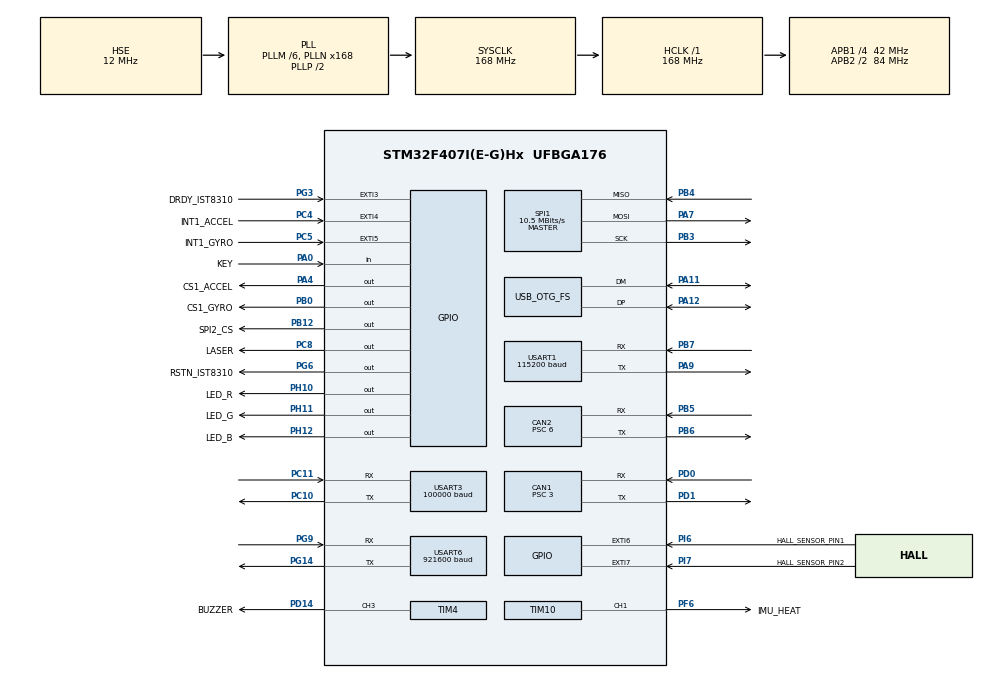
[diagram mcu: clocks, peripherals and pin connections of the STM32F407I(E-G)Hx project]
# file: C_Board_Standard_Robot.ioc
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CAN1.BS1=CAN_BS1_10TQ
CAN1.BS2=CAN_BS2_3TQ
CAN1.CalculateBaudRate=1000000
CAN1.CalculateTimeBit=1000
CAN1.CalculateTimeQuantum=71.42857142857143
CAN1.Prescaler=3
CAN2.ABOM=ENABLE
CAN2.BS1=CAN_BS1_3TQ
CAN2.BS2=CAN_BS2_3TQ
CAN2.CalculateBaudRate=1000000
CAN2.CalculateTimeBit=1000
CAN2.CalculateTimeQuantum=142.85714285714286
CAN2.NART=ENABLE
CAN2.Prescaler=6
Dma.Request0=SPI1_RX
Dma.Request1=SPI1_TX
Dma.Request2=USART3_RX
Dma.Request3=USART1_TX
Dma.Request4=USART1_RX
Dma.Request5=USART6_RX
Dma.SPI1_RX.0.Direction=DMA_PERIPH_TO_MEMORY
Dma.SPI1_RX.0.FIFOMode=DMA_FIFOMODE_DISABLE
Dma.SPI1_RX.0.Instance=DMA2_Stream2
Dma.SPI1_RX.0.MemDataAlignment=DMA_MDATAALIGN_BYTE
Dma.SPI1_RX.0.MemInc=DMA_MINC_ENABLE
Dma.SPI1_RX.0.Mode=DMA_NORMAL
Dma.SPI1_RX.0.PeriphDataAlignment=DMA_PDATAALIGN_BYTE
Dma.SPI1_RX.0.PeriphInc=DMA_PINC_DISABLE
Dma.SPI1_RX.0.Priority=DMA_PRIORITY_VERY_HIGH
Dma.SPI1_TX.1.Direction=DMA_MEMORY_TO_PERIPH
Dma.SPI1_TX.1.FIFOMode=DMA_FIFOMODE_DISABLE
Dma.SPI1_TX.1.Instance=DMA2_Stream3
Dma.SPI1_TX.1.MemDataAlignment=DMA_MDATAALIGN_BYTE
Dma.SPI1_TX.1.MemInc=DMA_MINC_ENABLE
Dma.SPI1_TX.1.Mode=DMA_NORMAL
Dma.SPI1_TX.1.PeriphDataAlignment=DMA_PDATAALIGN_BYTE
Dma.SPI1_TX.1.PeriphInc=DMA_PINC_DISABLE
Dma.SPI1_TX.1.Priority=DMA_PRIORITY_HIGH
Dma.USART1_RX.4.Direction=DMA_PERIPH_TO_MEMORY
Dma.USART1_RX.4.FIFOMode=DMA_FIFOMODE_DISABLE
Dma.USART1_RX.4.Instance=DMA2_Stream5
Dma.USART1_RX.4.MemDataAlignment=DMA_MDATAALIGN_BYTE
Dma.USART1_RX.4.MemInc=DMA_MINC_ENABLE
Dma.USART1_RX.4.Mode=DMA_NORMAL
Dma.USART1_RX.4.PeriphDataAlignment=DMA_PDATAALIGN_BYTE
Dma.USART1_RX.4.PeriphInc=DMA_PINC_DISABLE
Dma.USART1_RX.4.Priority=DMA_PRIORITY_VERY_HIGH
Dma.USART1_TX.3.Direction=DMA_MEMORY_TO_PERIPH
Dma.USART1_TX.3.FIFOMode=DMA_FIFOMODE_DISABLE
Dma.USART1_TX.3.Instance=DMA2_Stream7
Dma.USART1_TX.3.MemDataAlignment=DMA_MDATAALIGN_BYTE
Dma.USART1_TX.3.MemInc=DMA_MINC_ENABLE
Dma.USART1_TX.3.Mode=DMA_NORMAL
Dma.USART1_TX.3.PeriphDataAlignment=DMA_PDATAALIGN_BYTE
Dma.USART1_TX.3.PeriphInc=DMA_PINC_DISABLE
Dma.USART1_TX.3.Priority=DMA_PRIORITY_VERY_HIGH
Dma.USART3_RX.2.Direction=DMA_PERIPH_TO_MEMORY
Dma.USART3_RX.2.FIFOMode=DMA_FIFOMODE_DISABLE
Dma.USART3_RX.2.Instance=DMA1_Stream1
Dma.USART3_RX.2.MemDataAlignment=DMA_MDATAALIGN_BYTE
Dma.USART3_RX.2.MemInc=DMA_MINC_ENABLE
Dma.USART3_RX.2.Mode=DMA_NORMAL
Dma.USART3_RX.2.PeriphDataAlignment=DMA_PDATAALIGN_BYTE
Dma.USART3_RX.2.PeriphInc=DMA_PINC_DISABLE
Dma.USART3_RX.2.Priority=DMA_PRIORITY_LOW
Dma.USART6_RX.5.Direction=DMA_PERIPH_TO_MEMORY
Dma.USART6_RX.5.FIFOMode=DMA_FIFOMODE_DISABLE
Dma.USART6_RX.5.Instance=DMA2_Stream1
Dma.USART6_RX.5.MemDataAlignment=DMA_MDATAALIGN_BYTE
Dma.USART6_RX.5.MemInc=DMA_MINC_ENABLE
Dma.USART6_RX.5.Mode=DMA_NORMAL
Dma.USART6_RX.5.PeriphDataAlignment=DMA_PDATAALIGN_BYTE
Dma.USART6_RX.5.PeriphInc=DMA_PINC_DISABLE
Dma.USART6_RX.5.Priority=DMA_PRIORITY_LOW
FREERTOS.INCLUDE_eTaskGetState=1
FREERTOS.INCLUDE_pcTaskGetTaskName=1
FREERTOS.INCLUDE_uxTaskGetStackHighWaterMark=1
FREERTOS.INCLUDE_vTaskCleanUpResources=1
FREERTOS.INCLUDE_vTaskDelayUntil=1
FREERTOS.INCLUDE_xEventGroupSetBitFromISR=1
FREERTOS.INCLUDE_xQueueGetMutexHolder=1
FREERTOS.INCLUDE_xSemaphoreGetMutexHolder=1
FREERTOS.INCLUDE_xTaskAbortDelay=1
FREERTOS.INCLUDE_xTaskGetCurrentTaskHandle=1
FREERTOS.INCLUDE_xTaskGetHandle=1
FREERTOS.INCLUDE_xTimerPendFunctionCall=1
FREERTOS.Tasks01=INSTask,24,1024,StartINSTask,Default,NULL,Dynamic,NULL,NULL;Init_Task,8,2048,StartInit_Task,Default,NULL,Dynamic,NULL,NULL
FREERTOS.configTOTAL_HEAP_SIZE=24576
Mcu.Family=STM32F4
Mcu.Name=STM32F407I(E-G)Hx
Mcu.Package=UFBGA176
NVIC.CAN1_RX0_IRQn=true\:5\:0\:false\:false\:true\:true\:true\:true\:true
NVIC.CAN2_RX1_IRQn=true\:5\:0\:false\:false\:true\:true\:true\:true\:true
NVIC.DMA1_Stream1_IRQn=true\:5\:0\:false\:false\:true\:true\:false\:true\:true
NVIC.DMA2_Stream1_IRQn=true\:5\:0\:false\:false\:true\:true\:false\:true\:true
NVIC.DMA2_Stream2_IRQn=true\:5\:0\:true\:false\:false\:false\:false\:true\:true
NVIC.DMA2_Stream3_IRQn=true\:5\:0\:true\:false\:false\:false\:false\:true\:true
NVIC.DMA2_Stream5_IRQn=true\:5\:0\:false\:false\:true\:true\:false\:true\:true
NVIC.DMA2_Stream7_IRQn=true\:5\:0\:false\:false\:true\:true\:false\:true\:true
NVIC.EXTI3_IRQn=true\:5\:0\:true\:false\:true\:false\:true\:true\:true
NVIC.EXTI4_IRQn=true\:5\:0\:true\:false\:true\:false\:true\:true\:true
NVIC.EXTI9_5_IRQn=true\:5\:0\:true\:false\:true\:false\:true\:true\:true
NVIC.HASH_RNG_IRQn=true\:5\:0\:false\:false\:true\:true\:true\:true\:true
NVIC.OTG_FS_IRQn=true\:5\:0\:false\:false\:true\:true\:true\:true\:true
NVIC.PriorityGroup=NVIC_PRIORITYGROUP_4
NVIC.TIM2_IRQn=true\:0\:0\:false\:false\:true\:false\:false\:true\:true
NVIC.TIM3_IRQn=true\:5\:0\:false\:false\:true\:true\:true\:true\:true
NVIC.TimeBase=TIM2_IRQn
NVIC.TimeBaseIP=TIM2
NVIC.USART1_IRQn=true\:5\:0\:false\:false\:true\:true\:true\:true\:true
NVIC.USART3_IRQn=true\:5\:0\:false\:false\:true\:true\:true\:true\:true
NVIC.USART6_IRQn=true\:5\:0\:false\:false\:true\:true\:true\:true\:true
PA0-WKUP.GPIO_Label=KEY
PA0-WKUP.GPIO_PuPd=GPIO_PULLUP
PA0-WKUP.Signal=GPIO_Input
PA11.Mode=Device_Only
PA11.Signal=USB_OTG_FS_DM
PA12.Mode=Device_Only
PA12.Signal=USB_OTG_FS_DP
PA13.Mode=Serial_Wire
PA13.Signal=SYS_JTMS-SWDIO
PA14.Mode=Serial_Wire
PA14.Signal=SYS_JTCK-SWCLK
PA4.GPIO_Label=CS1_ACCEL
PA4.GPIO_PuPd=GPIO_PULLUP
PA4.GPIO_Speed=GPIO_SPEED_FREQ_HIGH
PA4.PinState=GPIO_PIN_SET
PA4.Signal=GPIO_Output
PA7.GPIO_PuPd=GPIO_PULLUP
PA7.Mode=Full_Duplex_Master
PA7.Signal=SPI1_MOSI
PA9.Mode=Asynchronous
PA9.Signal=USART1_TX
PB0.GPIO_Label=CS1_GYRO
PB0.GPIO_PuPd=GPIO_PULLUP
PB0.GPIO_Speed=GPIO_SPEED_FREQ_HIGH
PB0.PinState=GPIO_PIN_SET
PB0.Signal=GPIO_Output
PB12.GPIO_Label=SPI2_CS
PB12.GPIO_PuPd=GPIO_PULLUP
PB12.GPIO_Speed=GPIO_SPEED_FREQ_MEDIUM
PB12.PinState=GPIO_PIN_SET
PB12.Signal=GPIO_Output
PB3.GPIO_PuPd=GPIO_PULLUP
PB3.Mode=Full_Duplex_Master
PB3.Signal=SPI1_SCK
PB4.GPIO_PuPd=GPIO_PULLUP
PB4.Mode=Full_Duplex_Master
PB4.Signal=SPI1_MISO
PB5.Mode=CAN_Activate
PB5.Signal=CAN2_RX
PB6.Mode=CAN_Activate
PB6.Signal=CAN2_TX
PB7.Mode=Asynchronous
PB7.Signal=USART1_RX
PC10.Mode=Asynchronous
PC10.Signal=USART3_TX
PC11.Mode=Asynchronous
PC11.Signal=USART3_RX
PC4.GPIO_Label=INT1_ACCEL
PC4.GPIO_ModeDefaultEXTI=GPIO_MODE_IT_FALLING
PC4.GPIO_PuPd=GPIO_PULLUP
PC4.Signal=GPXTI4
PC5.GPIO_Label=INT1_GYRO
PC5.GPIO_ModeDefaultEXTI=GPIO_MODE_IT_FALLING
PC5.GPIO_PuPd=GPIO_PULLUP
PC5.Signal=GPXTI5
PC8.GPIO_Label=LASER
PC8.Signal=GPIO_Output
PD0.Mode=CAN_Activate
PD0.Signal=CAN1_RX
PD1.Mode=CAN_Activate
PD1.Signal=CAN1_TX
PD14.GPIO_Label=BUZZER
PD14.GPIO_PuPd=GPIO_PULLUP
PD14.GPIO_Speed=GPIO_SPEED_FREQ_VERY_HIGH
PD14.Signal=S_TIM4_CH3
PF6.GPIO_Label=IMU_HEAT
PF6.GPIO_PuPd=GPIO_PULLUP
PF6.GPIO_Speed=GPIO_SPEED_FREQ_HIGH
PF6.Signal=S_TIM10_CH1
PG14.Mode=Asynchronous
PG14.Signal=USART6_TX
PG3.GPIO_Label=DRDY_IST8310
PG3.GPIO_ModeDefaultEXTI=GPIO_MODE_IT_FALLING
PG3.GPIO_PuPd=GPIO_PULLUP
PG3.Signal=GPXTI3
PG6.GPIO_Label=RSTN_IST8310
PG6.GPIO_PuPd=GPIO_PULLUP
PG6.GPIO_Speed=GPIO_SPEED_FREQ_MEDIUM
PG6.PinState=GPIO_PIN_SET
PG6.Signal=GPIO_Output
PG9.Mode=Asynchronous
PG9.Signal=USART6_RX
PH0-OSC_IN.Mode=HSE-External-Oscillator
PH0-OSC_IN.Signal=RCC_OSC_IN
PH1-OSC_OUT.Mode=HSE-External-Oscillator
PH1-OSC_OUT.Signal=RCC_OSC_OUT
PH10.GPIO_Label=LED_R
PH10.Signal=GPIO_Output
PH11.GPIO_Label=LED_G
PH11.Signal=GPIO_Output
PH12.GPIO_Label=LED_B
PH12.Signal=GPIO_Output
PI6.GPIO_Label=HALL_SENSOR_PIN1
PI6.Signal=GPXTI6
PI7.GPIO_Label=HALL_SENSOR_PIN2
PI7.Signal=GPXTI7
ProjectManager.HeapSize=0x4000
ProjectManager.StackSize=0x4000
ProjectManager.TargetToolchain=MDK-ARM V5.32
RCC.48MHZClocksFreq_Value=48000000
RCC.AHBFreq_Value=168000000
RCC.APB1CLKDivider=RCC_HCLK_DIV4
RCC.APB1Freq_Value=42000000
RCC.APB1TimFreq_Value=84000000
RCC.APB2CLKDivider=RCC_HCLK_DIV2
RCC.APB2Freq_Value=84000000
RCC.APB2TimFreq_Value=168000000
RCC.CortexFreq_Value=168000000
RCC.HCLKFreq_Value=168000000
RCC.HSE_VALUE=12000000
RCC.HSI_VALUE=16000000
RCC.LSE_VALUE=32768
RCC.PLLM=6
RCC.PLLN=168
RCC.PLLQ=7
RCC.RCC_RTC_Clock_SourceVirtual=RCC_RTCCLKSOURCE_HSE_DIV30
RCC.RCC_RTC_Clock_Source_FROM_HSE=RCC_RTCCLKSOURCE_HSE_DIV30
RCC.SYSCLKFreq_VALUE=168000000
RCC.SYSCLKSource=RCC_SYSCLKSOURCE_PLLCLK
RCC.VCOOutputFreq_Value=336000000
SH.S_TIM10_CH1.0=TIM10_CH1,PWM Generation1 CH1
SH.S_TIM4_CH3.0=TIM4_CH3,PWM Generation3 CH3
SPI1.BaudRatePrescaler=SPI_BAUDRATEPRESCALER_8
SPI1.CLKPhase=SPI_PHASE_2EDGE
SPI1.CLKPolarity=SPI_POLARITY_HIGH
SPI1.CalculateBaudRate=10.5 MBits/s
SPI1.Direction=SPI_DIRECTION_2LINES
SPI1.Mode=SPI_MODE_MASTER
SPI1.VirtualType=VM_MASTER
TIM10.Channel=TIM_CHANNEL_1
TIM10.Period=2000-1
TIM10.Prescaler=84-1
TIM3.Period=2000-1
TIM3.Prescaler=84-1
TIM4.Channel-PWM\ Generation3\ CH3=TIM_CHANNEL_3
TIM4.Prescaler=167
USART1.BaudRate=115200
USART1.Mode=MODE_TX_RX
USART1.VirtualMode=VM_ASYNC
USART3.BaudRate=100000
USART3.Mode=MODE_RX
USART3.Parity=PARITY_EVEN
USART3.VirtualMode=VM_ASYNC
USART6.BaudRate=921600
USART6.Mode=MODE_RX
USART6.VirtualMode=VM_ASYNC
USB_DEVICE.CLASS_NAME_FS=CDC
USB_DEVICE.VirtualMode-CDC_FS=Cdc
USB_DEVICE.VirtualModeFS=Cdc_FS
USB_OTG_FS.VirtualMode=Device_Only
VP_FREERTOS_VS_CMSIS_V2.Mode=CMSIS_V2
VP_RNG_VS_RNG.Mode=RNG_Activate
VP_SYS_VS_tim2.Mode=TIM2
VP_TIM10_VS_ClockSourceINT.Mode=Enable_Timer
VP_TIM3_VS_ClockSourceINT.Mode=Internal
VP_USB_DEVICE_VS_USB_DEVICE_CDC_FS.Mode=CDC_FS
board=custom

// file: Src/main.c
/* USER CODE BEGIN Header */
/**
  ******************************************************************************
  * @file           : main.c
  * @brief          : Main program body
  ******************************************************************************
  * @attention
  *
  * Copyright (c) 2024 STMicroelectronics.
  * All rights reserved.
  *
  * This software is licensed under terms that can be found in the LICENSE file
  * in the root directory of this software component.
  * If no LICENSE file comes with this software, it is provided AS-IS.
  *
  ******************************************************************************
  */
/* USER CODE END Header */
#include "main.h"
#include "cmsis_os.h"
#include "can.h"
#include "dma.h"
#include "rng.h"
#include "spi.h"
#include "tim.h"
#include "usart.h"
#include "usb_device.h"
#include "gpio.h"

/* USER CODE BEGIN Includes */
#include "BMI088driver.h"
#include "bsp_dwt.h"
#include "stdio.h"
#include "Gimbal.h"
#include "Variate.h"
/* USER CODE END Includes */

/* USER CODE BEGIN PV */

extern TaskHandle_t Music_Task_handle;

/* USER CODE END PV */

void SystemClock_Config(void);
void MX_FREERTOS_Init(void);

int main(void)
{

  /* MCU Configuration--------------------------------------------------------*/

  /* Reset of all peripherals, Initializes the Flash interface and the Systick. */
  HAL_Init();

  /* Configure the system clock */
  SystemClock_Config();

  /* Initialize all configured peripherals */
  MX_GPIO_Init();
  MX_DMA_Init();
  MX_SPI1_Init();
  MX_TIM10_Init();
  MX_CAN1_Init();
  MX_CAN2_Init();
  MX_TIM3_Init();
  MX_USART3_UART_Init();
  MX_USART1_UART_Init();
  MX_TIM4_Init();
  MX_RNG_Init();
  MX_USART6_UART_Init();
  /* USER CODE BEGIN 2 */
    DWT_Init(168);
    while (BMI088Init(&hspi1, 1) != BMI088_NO_ERROR);
  /* USER CODE END 2 */

  /* Init scheduler */
  osKernelInitialize();

  /* Call init function for freertos objects (in cmsis_os2.c) */
  MX_FREERTOS_Init();

  /* Start scheduler */
  osKernelStart();

  /* We should never get here as control is now taken by the scheduler */

  /* Infinite loop */
  while (1)
  {

  }
}

void SystemClock_Config(void)
{
  RCC_OscInitTypeDef RCC_OscInitStruct = {0};
  RCC_ClkInitTypeDef RCC_ClkInitStruct = {0};

  /** Configure the main internal regulator output voltage
  */
  __HAL_RCC_PWR_CLK_ENABLE();
  __HAL_PWR_VOLTAGESCALING_CONFIG(PWR_REGULATOR_VOLTAGE_SCALE1);

  /** Initializes the RCC Oscillators according to the specified parameters
  * in the RCC_OscInitTypeDef structure.
  */
  RCC_OscInitStruct.OscillatorType = RCC_OSCILLATORTYPE_HSE;
  RCC_OscInitStruct.HSEState = RCC_HSE_ON;
  RCC_OscInitStruct.PLL.PLLState = RCC_PLL_ON;
  RCC_OscInitStruct.PLL.PLLSource = RCC_PLLSOURCE_HSE;
  RCC_OscInitStruct.PLL.PLLM = 6;
  RCC_OscInitStruct.PLL.PLLN = 168;
  RCC_OscInitStruct.PLL.PLLP = RCC_PLLP_DIV2;
  RCC_OscInitStruct.PLL.PLLQ = 7;
  if (HAL_RCC_OscConfig(&RCC_OscInitStruct) != HAL_OK)
  {
    Error_Handler();
  }

  /** Initializes the CPU, AHB and APB buses clocks
  */
  RCC_ClkInitStruct.ClockType = RCC_CLOCKTYPE_HCLK|RCC_CLOCKTYPE_SYSCLK
                              |RCC_CLOCKTYPE_PCLK1|RCC_CLOCKTYPE_PCLK2;
  RCC_ClkInitStruct.SYSCLKSource = RCC_SYSCLKSOURCE_PLLCLK;
  RCC_ClkInitStruct.AHBCLKDivider = RCC_SYSCLK_DIV1;
  RCC_ClkInitStruct.APB1CLKDivider = RCC_HCLK_DIV4;
  RCC_ClkInitStruct.APB2CLKDivider = RCC_HCLK_DIV2;

  if (HAL_RCC_ClockConfig(&RCC_ClkInitStruct, FLASH_LATENCY_5) != HAL_OK)
  {
    Error_Handler();
  }
}

void Error_Handler(void)
{
  __disable_irq();
  while (1)
  {
  }
}

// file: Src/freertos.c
/* USER CODE BEGIN Header */
/**
  ******************************************************************************
  * File Name          : freertos.c
  * Description        : Code for freertos applications
  ******************************************************************************
  * @attention
  *
  * Copyright (c) 2024 STMicroelectronics.
  * All rights reserved.
  *
  * This software is licensed under terms that can be found in the LICENSE file
  * in the root directory of this software component.
  * If no LICENSE file comes with this software, it is provided AS-IS.
  *
  ******************************************************************************
  */
/* USER CODE END Header */

#include "FreeRTOS.h"
#include "task.h"
#include "main.h"
#include "cmsis_os.h"

/* Definitions for INSTask */
osThreadId_t INSTaskHandle;
const osThreadAttr_t INSTask_attributes = {
  .name = "INSTask",
  .stack_size = 1024 * 4,
  .priority = (osPriority_t) osPriorityNormal,
};
/* Definitions for Init_Task */
osThreadId_t Init_TaskHandle;
const osThreadAttr_t Init_Task_attributes = {
  .name = "Init_Task",
  .stack_size = 2048 * 4,
  .priority = (osPriority_t) osPriorityLow,
};

/* USER CODE BEGIN FunctionPrototypes */
void INS_Init();
void INS_Task();
void Init_Task();
/* USER CODE END FunctionPrototypes */

void StartINSTask(void *argument);
void StartInit_Task(void *argument);

extern void MX_USB_DEVICE_Init(void);
void MX_FREERTOS_Init(void); /* (MISRA C 2004 rule 8.1) */

void MX_FREERTOS_Init(void) {

  /* Create the thread(s) */
  /* creation of INSTask */
  INSTaskHandle = osThreadNew(StartINSTask, NULL, &INSTask_attributes);

  /* creation of Init_Task */
  Init_TaskHandle = osThreadNew(StartInit_Task, NULL, &Init_Task_attributes);

}

void StartINSTask(void *argument)
{
  /* init code for USB_DEVICE */
  MX_USB_DEVICE_Init();
  /* USER CODE BEGIN StartINSTask */
INS_Init();
  /* Infinite loop */
  for(;;)
  {
	  INS_Task();
    osDelay(1);
  }
  /* USER CODE END StartINSTask */
}

void StartInit_Task(void *argument)
{
  /* USER CODE BEGIN StartInit_Task */
	  MX_USB_DEVICE_Init();
     Init_Task();
  /* Infinite loop */
  /* USER CODE END StartInit_Task */
}
